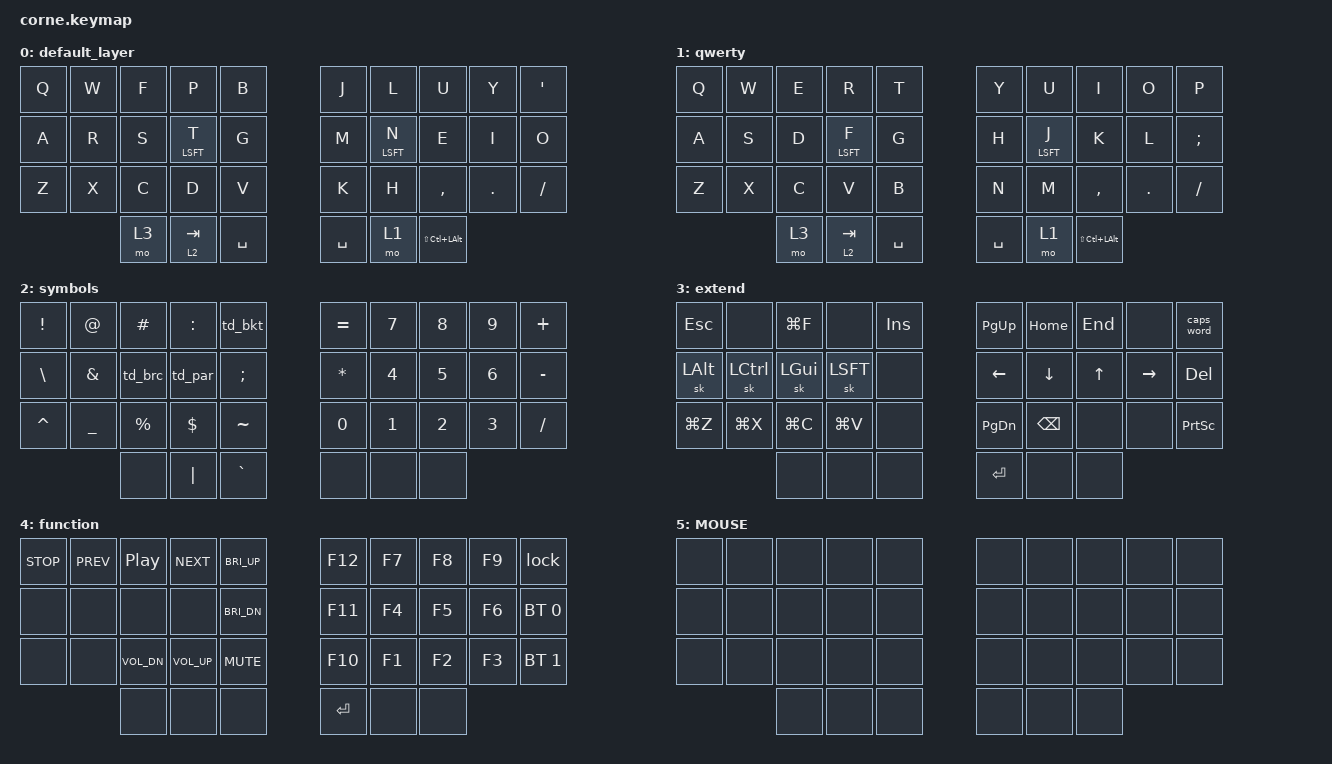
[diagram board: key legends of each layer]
/*
 * Corne-5-col (36 keys) - ZMK keymap
 *
 * SPDX-License-Identifier: MIT
 */

#include <behaviors.dtsi>
#include <dt-bindings/zmk/keys.h>
#include <dt-bindings/zmk/bt.h>
#include <dt-bindings/zmk/behaviors.h>

#define MEH &kp LS(LC(LALT))

/ {

    behaviors {
	// Custom mod-tap for space-shift
	mt_tp: mod_tap_space_shift {
            compatible = "zmk,behavior-hold-tap";
            #binding-cells = <2>;
            flavor = "tap-preferred";
            tapping-term-ms = <180>;
            bindings = <&kp>, <&kp>;
            display-name = "Mod-Tap";
        };

	// Home-row mods
	hml: home_row_mod_left {
            compatible = "zmk,behavior-hold-tap";
            #binding-cells = <2>;
            flavor = "balanced";
            require-prior-idle-ms = <150>;
            tapping-term-ms = <280>;
            quick-tap-ms = <175>;
            bindings = <&kp>, <&kp>;
	    hold-trigger-key-positions = <5 6 7 8 9 15 16 17 18 19 25 26 27 28 29 33 34 35>;
            hold-trigger-on-release;
        };
        hmr: home_row_mod_right {
            compatible = "zmk,behavior-hold-tap";
            #binding-cells = <2>;
            flavor = "balanced";
            require-prior-idle-ms = <150>;
            tapping-term-ms = <280>;
            quick-tap-ms = <175>;
            bindings = <&kp>, <&kp>;
	    hold-trigger-key-positions = <0 1 2 3 4 10 11 12 13 14 20 21 22 23 24 30 31 32>;
            hold-trigger-on-release;
        };

	// Tap dances for closing symbols
        td_bkt: tap_dance_brakets {
            compatible = "zmk,behavior-tap-dance";
            #binding-cells = <0>;
            tapping-term-ms = <200>;
            bindings = <&kp LBKT>, <&kp RBKT>;
        };
        td_brc: tap_dance_braces {
            compatible = "zmk,behavior-tap-dance";
            #binding-cells = <0>;
            tapping-term-ms = <200>;
            bindings = <&kp LBRC>, <&kp RBRC>;
        };
        td_par: tap_dance_parenthesis {
            compatible = "zmk,behavior-tap-dance";
            #binding-cells = <0>;
            tapping-term-ms = <200>;
            bindings = <&kp LPAR>, <&kp RPAR>;
        };
    };

    macros {
       lock: lock_all_systems {
           compatible = "zmk,behavior-macro";
           #binding-cells = <0>;
           bindings =
             // Linux & Android → HID “Terminal Lock / Screensaver” codes
             <&kp C_AL_LOCK &kp K_LOCK>

             // Windows 10 / 11 (and most Linux DEs) → Win + L                  
             , <&macro_press   &kp LGUI>
             , <&macro_tap     &kp L>
             , <&macro_release &kp LGUI>

             // macOS 10.13+ → Ctrl + Cmd + Q (system lock)
             , <&macro_press   &kp LCTRL &kp LGUI>
             , <&macro_tap     &kp Q>
             , <&macro_release &kp LCTRL &kp LGUI>;
        };
    };

    keymap {
        compatible = "zmk,keymap";

        default_layer {
            bindings = <
                &kp Q   &kp W    &kp F        &kp P         &kp B                &kp J	            &kp L         &kp U     &kp Y   &kp APOS
                &kp A   &kp R    &kp S        &hml LSFT T   &kp G                &kp M              &hmr LSFT N   &kp E     &kp I   &kp O
                &kp Z   &kp X    &kp C        &kp D         &kp V                &kp K              &kp H         &kp COMMA &kp DOT &kp FSLH
                                 &mo 3        &lt 2 TAB     &kp SPACE            &kp SPACE          &mo 1         MEH
            >;
        };

        qwerty {
            bindings = <
                &kp Q   &kp W    &kp E        &kp R         &kp T                &kp Y	            &kp U         &kp I     &kp O   &kp P
                &kp A   &kp S    &kp D        &hml LSFT F   &kp G                &kp H              &hmr LSFT J   &kp K     &kp L   &kp SEMI
                &kp Z   &kp X    &kp C        &kp V         &kp B                &kp N              &kp M         &kp COMMA &kp DOT &kp FSLH
                                 &mo 3        &lt 2 TAB     &kp SPACE            &kp SPACE          &mo 1         MEH
            >;
        };

        symbols {
            bindings = <
                &kp EXCL    &kp AT    &kp HASH    &kp COLON    &td_bkt          &kp EQUAL    &kp N7    &kp N8    &kp N9    &kp PLUS
                &kp BSLH    &kp AMPS  &td_brc     &td_par      &kp SEMI         &kp STAR     &kp N4    &kp N5    &kp N6    &kp MINUS
                &kp CARET   &kp UNDER &kp PRCNT   &kp DLLR     &kp TILDE        &kp N0       &kp N1    &kp N2    &kp N3    &kp FSLH
                                      &none       &kp PIPE     &kp GRAVE        &none        &none     &none
            >;
        };

        extend {
            bindings = <
                &kp ESC    &none       &kp LG(F) &none       &kp INS        &kp PG_UP    &kp HOME    &kp END   &none        &caps_word
                &sk LALT   &sk LCTRL   &sk LGUI  &sk LSFT    &none          &kp LEFT     &kp DOWN    &kp UP    &kp RIGHT    &kp DEL
                &kp LG(Z)  &kp LG(X)   &kp LG(C) &kp LG(V)   &none          &kp PG_DN    &kp BSPC    &none     &none        &kp PSCRN
                                       &none     &none       &none          &kp ENTER    &none       &none
            >;
        };
  
        function {
            bindings = <
                &kp C_STOP    &kp C_PREV    &kp C_PLAY_PAUSE   &kp C_NEXT    &kp C_BRI_UP        &kp F12     &kp F7      &kp F8      &kp F9      &lock
                &none         &none	    &none              &none         &kp C_BRI_DN     	 &kp F11     &kp F4      &kp F5      &kp F6      &bt BT_SEL 0
                &none 	      &none 	    &kp C_VOL_DN       &kp C_VOL_UP  &kp C_MUTE          &kp F10     &kp F1      &kp F2      &kp F3      &bt BT_SEL 1      
					    &none              &none         &none               &kp ENTER   &none       &none
            >;
        };

        mouse {
            label = "MOUSE";     

            bindings = <
                &none    &none    &none    &none    &none        &none     &none      &none      &none      &none
	        &none    &none	  &none    &none    &none     	 &none     &none      &none      &none      &none 
                &none 	 &none 	  &none    &none    &none        &none     &none      &none      &none      &none      
				  &none    &none    &none        &none     &none      &none
            >;
        };
    };
};

